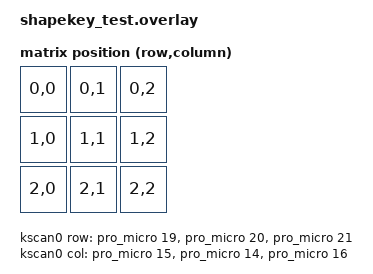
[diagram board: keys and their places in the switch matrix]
#include "shapekey_test.dtsi"


/ {
    kscan0: kscan0 {
        compatible = "zmk,kscan-gpio-matrix";
        diode-direction = "col2row"; // ダイオードの方向を「列から行」に設定
        wakeup-source; // このスキャンがウェイクアップソースとして機能することを示す

        col-gpios
            = <&pro_micro 15 GPIO_ACTIVE_HIGH> // 列1のGPIOピン（アクティブハイ）
            , <&pro_micro 14 GPIO_ACTIVE_HIGH> // 列2のGPIOピン（アクティブハイ）
            , <&pro_micro 16 GPIO_ACTIVE_HIGH> // 列3のGPIOピン（アクティブハイ）
            ;

        row-gpios
            = <&pro_micro 19 (GPIO_ACTIVE_HIGH | GPIO_PULL_DOWN)> // 行1のGPIOピン（アクティブハイ、プルダウン）
            , <&pro_micro 20 (GPIO_ACTIVE_HIGH | GPIO_PULL_DOWN)> // 行2のGPIOピン（アクティブハイ、プルダウン）
            , <&pro_micro 21 (GPIO_ACTIVE_HIGH | GPIO_PULL_DOWN)> // 行3のGPIOピン（アクティブハイ、プルダウン）
            ;
    };
};
#include <dt-bindings/zmk/matrix_transform.h> // 他のインクルードと一緒に、このオーバーレイの上部に配置する

/ {
    default_transform: keymap_transform0 {
        compatible = "zmk,matrix-transform";
        columns = <3>; // "col-gpios" 配列の長さ（列数）
        rows = <3>; // "row-gpios" 配列の長さ（行数）
        map = <
        //   キー1 | キー2 | キー3
            RC(0,0) RC(0,1) RC(0,2)
        //   キー4 | キー5 | キー6
            RC(1,0) RC(1,1) RC(1,2)
        //   キー7 | キー8 | キー9
            RC(2,0) RC(2,1) RC(2,2)
        >;
    };
};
